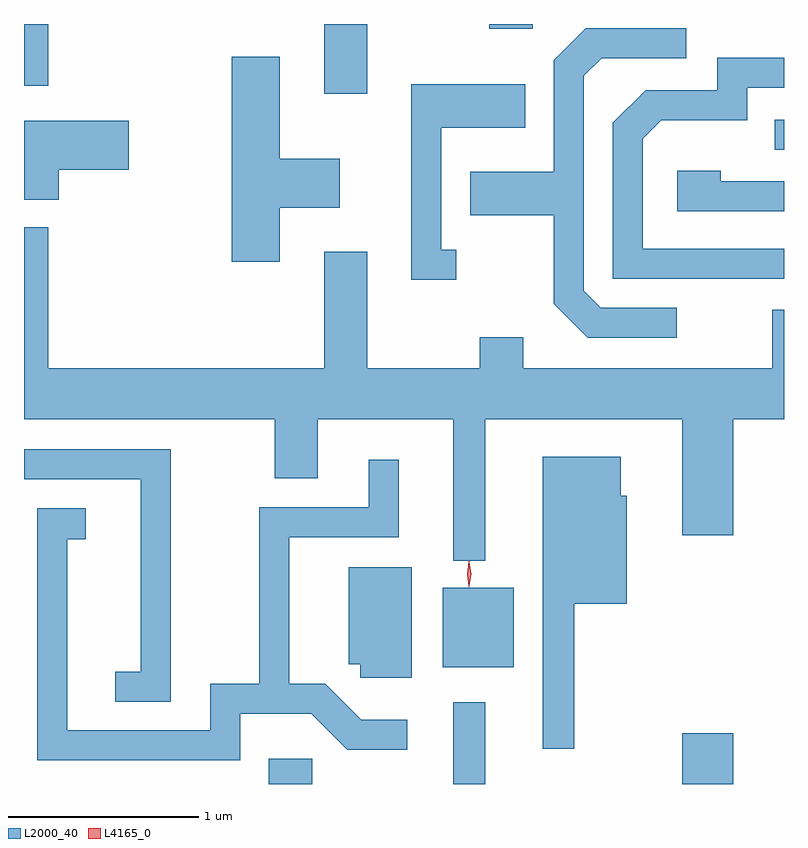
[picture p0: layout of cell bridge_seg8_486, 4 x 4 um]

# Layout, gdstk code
import gdstk
lib = gdstk.Library(unit=1e-6, precision=1e-09)
def R(c, l, rs):  # rectangles x0, y0, x1, y1
    for r in rs: c.add(gdstk.rectangle(r[:2], r[2:], *l))
def P(c, l, *ps):  # polygons
    for p in ps: c.add(gdstk.Polygon(p, *l))
L2000_40 = (2000, 40)
L4165_0 = (4165, 0)

bridge_seg8_486 = lib.new_cell('bridge_seg8_486')
R(bridge_seg8_486, L2000_40, [(332.781,1881.117,333.009,1881.249), (333.751,1881.117,333.919,1881.548), (334.956,1881.117,335.224,1881.384), (333.696,1881.731,334.069,1882.149), (335.443,1884.456,335.492,1884.614), (333.071,1884.751,333.299,1885.117), (331.492,1884.793,331.619,1885.117), (333.941,1885.091,334.169,1885.117)])
P(bridge_seg8_486, L2000_40, [(334.928,1883.624),(334.527,1883.624),(334.439,1883.712),(334.439,1884.844),(334.532,1884.936),(334.978,1884.936),(334.978,1885.094),(334.449,1885.094),(334.281,1884.927),(334.281,1884.339),(333.841,1884.339),(333.841,1884.111),(334.281,1884.111),(334.281,1883.644),(334.459,1883.466),(334.928,1883.466)],
  [(332.839,1884.151),(333.154,1884.151),(333.154,1884.409),(332.839,1884.409),(332.839,1884.944),(332.586,1884.944),(332.586,1883.866),(332.839,1883.866)],
  [(335.492,1883.934),(334.749,1883.934),(334.749,1884.514),(334.847,1884.611),(335.299,1884.611),(335.299,1884.781),(335.492,1884.781),(335.492,1884.939),(335.141,1884.939),(335.141,1884.769),(334.764,1884.769),(334.591,1884.597),(334.591,1883.776),(335.492,1883.776)],
  [(333.768,1883.929),(333.689,1883.929),(333.689,1884.571),(334.129,1884.571),(334.129,1884.799),(333.531,1884.799),(333.531,1883.771),(333.768,1883.771)],
  [(331.674,1884.351),(332.044,1884.351),(332.044,1884.609),(331.492,1884.609),(331.492,1884.191),(331.674,1884.191)],
  [(335.492,1884.289),(335.159,1884.289),(335.159,1884.344),(334.931,1884.344),(334.931,1884.131),(335.492,1884.131)],
  [(331.619,1884.048),(331.492,1884.048),(331.492,1883.036),(332.811,1883.036),(332.811,1882.726),(333.039,1882.726),(333.039,1883.036),(333.751,1883.036),(333.751,1882.293),(333.919,1882.293),(333.919,1883.036),(334.956,1883.036),(334.956,1882.426),(335.224,1882.426),(335.224,1883.036),(335.492,1883.036),(335.492,1883.614),(335.431,1883.614),(335.431,1883.304),(334.119,1883.304),(334.119,1883.469),(333.891,1883.469),(333.891,1883.304),(333.299,1883.304),(333.299,1883.919),(333.071,1883.919),(333.071,1883.304),(331.619,1883.304)],
  [(332.264,1882.879),(331.492,1882.879),(331.492,1882.721),(332.106,1882.721),(332.106,1881.709),(331.973,1881.709),(331.973,1881.551),(332.264,1881.551)],
  [(334.389,1882.066),(334.664,1882.066),(334.664,1882.634),(334.634,1882.634),(334.634,1882.839),(334.221,1882.839),(334.221,1881.303),(334.389,1881.303)],
  [(332.629,1881.486),(333.004,1881.486),(333.194,1881.296),(333.508,1881.296),(333.508,1881.454),(333.267,1881.454),(333.077,1881.644),(332.889,1881.644),(332.889,1882.416),(333.464,1882.416),(333.464,1882.823),(333.306,1882.823),(333.306,1882.574),(332.731,1882.574),(332.731,1881.644),(332.471,1881.644),(332.471,1881.399),(331.719,1881.399),(331.719,1882.406),(331.818,1882.406),(331.818,1882.569),(331.561,1882.569),(331.561,1881.241),(332.629,1881.241)],
  [(333.534,1882.259),(333.201,1882.259),(333.201,1881.746),(333.261,1881.746),(333.261,1881.676),(333.534,1881.676)])
P(bridge_seg8_486, L4165_0, [(333.834,1882.154),(333.834,1882.154),(333.824,1882.222),(333.834,1882.29),(333.834,1882.29),(333.835,1882.29),(333.844,1882.222),(333.835,1882.154)],
  [(333.836,1882.158),(333.836,1882.158),(333.826,1882.222),(333.834,1882.287),(333.835,1882.287),(333.836,1882.287),(333.846,1882.223),(333.836,1882.158)])

lib.write_gds('bridge_seg8_486.gds')
